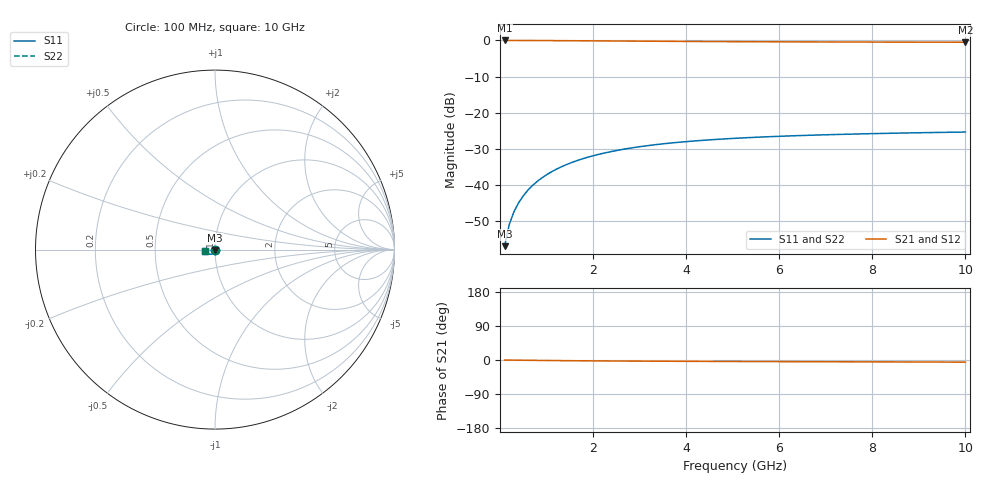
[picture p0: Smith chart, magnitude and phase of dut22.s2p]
! Touchstone file exported from HFSS 2024.1.0
!  File:  C:/UserFiles/LocalFiles/RDL_TSV_Batchsim/temp_TSV1_22_1779369216.aedt
!  Generated:  09:18:21 PM May 21, 2026
!  Design:  TSV1
!  Project:  temp_TSV1_22_1779369216
!  Setup:  Setup1
!  Solution:  Sweep
! Variables:
!  dtsv = 10.29um
!  hbump = 3um
!  htsv = 88.58um
!  lrdl = 252.1521522um
!  p = 40
!  p1 = 44.59um
!  t = 500um
!  trdl = 3um
!  wrdl = 24.89489489um
# GHz S MA R 50.000000
! Terminal data exported
! Port[1] = TSV22_T1
! Port[2] = TSV22_T2
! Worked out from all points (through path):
!   100 points, 100 MHz to 10 GHz, reference 50 ohm
!   highest |S21| = 0.00 dB at 100 MHz (marker M1); lowest = -0.5 dB at 10 GHz (marker M2)
!   lowest |S11| = -56.9 dB at 100 MHz (marker M3), VSWR 1.00, Z = 50 - j0.142 ohm
!   |S11| at or under -10 dB: start of sweep to end of sweep
!   |S22| runs from -56.9 to -25.3 dB; largest |S21 - S12| = 4.3e-15
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0.1  0.001426 -85.6  0.9998 -0.1  0.9998 -0.1  0.001426 -85.6
! Gamma 0 0 0 0
! Port Impedance 50 0 50 0
0.2  0.002842 -90.0  0.9997 -0.3  0.9997 -0.3  0.002842 -90.0
0.3  0.004259 -92.6  0.9995 -0.4  0.9995 -0.4  0.004259 -92.6
0.4  0.005673 -94.6  0.9992 -0.5  0.9992 -0.5  0.005673 -94.6
0.5  0.007078 -96.5  0.9988 -0.7  0.9988 -0.7  0.007078 -96.5
0.6  0.00847 -98.3  0.9983 -0.8  0.9983 -0.8  0.00847 -98.3
0.7  0.009847 -100.0  0.9978 -0.9  0.9978 -0.9  0.009847 -100.0
0.8  0.0112 -101.7  0.9973 -1.0  0.9973 -1.0  0.0112 -101.7
0.9  0.01254 -103.4  0.9967 -1.2  0.9967 -1.2  0.01254 -103.4
1.1  0.01514 -106.6  0.9953 -1.4  0.9953 -1.4  0.01514 -106.6
1.4  0.01883 -111.1  0.9928 -1.7  0.9928 -1.7  0.01883 -111.1
1.6  0.02114 -114.0  0.991 -1.9  0.991 -1.9  0.02114 -114.0
1.8  0.02332 -116.7  0.9892 -2.1  0.9892 -2.1  0.02332 -116.7
2.1  0.02636 -120.7  0.9863 -2.4  0.9863 -2.4  0.02636 -120.7
2.5  0.02998 -125.5  0.9824 -2.7  0.9824 -2.7  0.02998 -125.5
2.9  0.03313 -129.9  0.9786 -2.9  0.9786 -2.9  0.03313 -129.9
3.4  0.0365 -134.9  0.9741 -3.2  0.9741 -3.2  0.0365 -134.9
4.2  0.0408 -141.7  0.9679 -3.6  0.9679 -3.6  0.0408 -141.7
5.1  0.04444 -148.1  0.9621 -4.0  0.9621 -4.0  0.04444 -148.1
6.7  0.04891 -157.2  0.9545 -4.5  0.9545 -4.5  0.04891 -157.2
8.4  0.05201 -164.7  0.9491 -5.1  0.9491 -5.1  0.05201 -164.7
10  0.05407 -170.5  0.9455 -5.6  0.9455 -5.6  0.05408 -170.5
